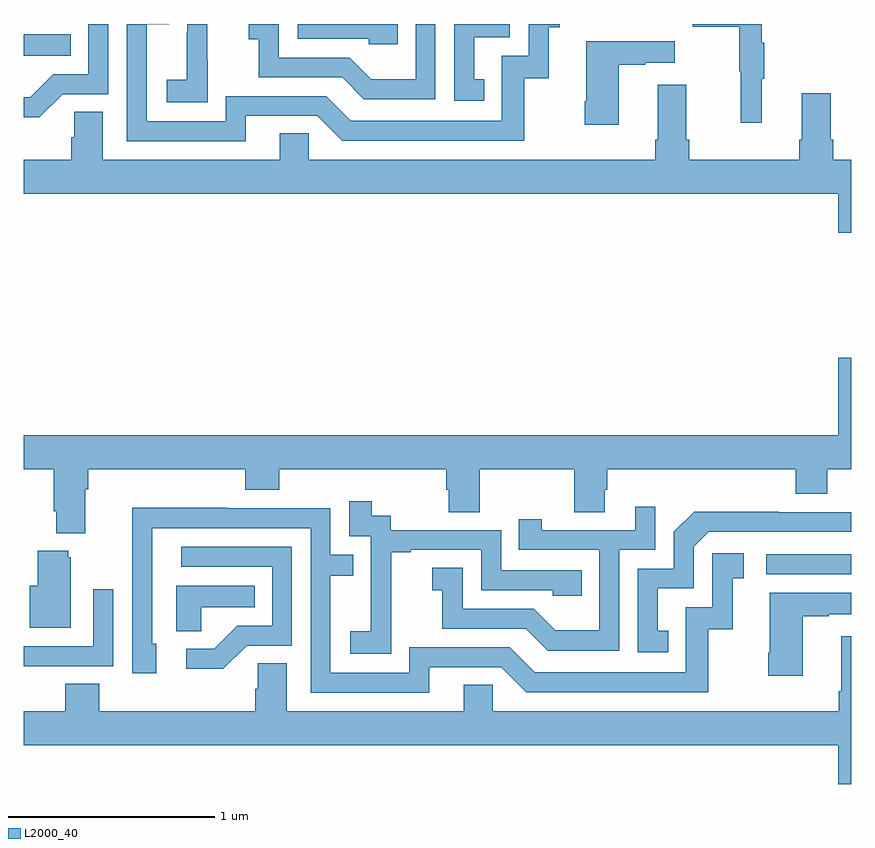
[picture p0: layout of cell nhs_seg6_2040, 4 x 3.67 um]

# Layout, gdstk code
import gdstk
lib = gdstk.Library(unit=1e-6, precision=1e-09)
def R(c, l, rs):  # rectangles x0, y0, x1, y1
    for r in rs: c.add(gdstk.rectangle(r[:2], r[2:], *l))
def P(c, l, *ps):  # polygons
    for p in ps: c.add(gdstk.Polygon(p, *l))
L2000_40 = (2000, 40)

nhs_seg6_2040 = lib.new_cell('nhs_seg6_2040')
R(nhs_seg6_2040, L2000_40, [(236.589,934.842,237,934.938), (233,937.346,233.228,937.45)])
P(nhs_seg6_2040, L2000_40, [(234.073,937.056),(234.42,937.056),(234.54,936.936),(235.42,936.936),(235.42,937.239),(235.538,937.239),(235.538,937.485),(235.591,937.485),(235.591,937.5),(235.44,937.5),(235.44,937.347),(235.311,937.347),(235.311,937.032),(234.582,937.032),(234.462,937.152),(233.976,937.152),(233.976,937.029),(233.595,937.029),(233.595,937.498),(233.705,937.498),(233.705,937.5),(233.499,937.5),(233.499,936.933),(234.073,936.933)],
  [(234.809,937.5),(234.324,937.5),(234.324,937.428),(234.669,937.428),(234.669,937.401),(234.809,937.401)],
  [(233.889,937.327),(233.888,937.327),(233.888,937.5),(233.79,937.5),(233.79,937.46),(233.789,937.46),(233.789,937.231),(233.691,937.231),(233.691,937.121),(233.889,937.121)],
  [(236.567,937.235),(236.578,937.235),(236.578,937.409),(236.567,937.409),(236.567,937.5),(236.233,937.5),(236.233,937.486),(236.457,937.486),(236.457,937.272),(236.464,937.272),(236.464,937.023),(236.567,937.023)],
  [(235.226,937.233),(235.177,937.233),(235.177,937.437),(235.35,937.437),(235.35,937.5),(235.08,937.5),(235.08,937.128),(235.226,937.128)],
  [(233.19,937.161),(233.409,937.161),(233.409,937.5),(233.313,937.5),(233.313,937.257),(233.144,937.257),(233.033,937.146),(233,937.146),(233,937.049),(233.077,937.049)],
  [(234.99,937.5),(234.894,937.5),(234.894,937.234),(234.68,937.234),(234.576,937.338),(234.234,937.338),(234.234,937.5),(234.087,937.5),(234.087,937.427),(234.136,937.427),(234.136,937.242),(234.539,937.242),(234.644,937.137),(234.99,937.137)],
  [(235.876,937.303),(236.003,937.303),(236.003,937.313),(236.146,937.313),(236.146,937.417),(235.718,937.417),(235.718,937.126),(235.711,937.126),(235.711,937.014),(235.876,937.014)],
  [(234.239,936.971),(234.239,936.844),(233.383,936.844),(233.383,937.076),(233.244,937.076),(233.244,936.953),(233.231,936.953),(233.231,936.844),(233,936.844),(233,936.68),(236.936,936.68),(236.936,936.492),(237,936.492),(237,936.844),(236.912,936.844),(236.912,936.94),(236.899,936.94),(236.899,937.165),(236.759,937.165),(236.759,936.94),(236.747,936.94),(236.747,936.844),(236.216,936.844),(236.216,936.94),(236.203,936.94),(236.203,937.207),(236.063,937.207),(236.063,936.94),(236.051,936.94),(236.051,936.844),(234.378,936.844),(234.378,936.971)],
  [(233.299,935.252),(233.312,935.252),(233.312,935.348),(234.071,935.348),(234.071,935.249),(234.236,935.249),(234.236,935.348),(235.043,935.348),(235.043,935.25),(235.055,935.25),(235.055,935.14),(235.203,935.14),(235.203,935.348),(235.66,935.348),(235.66,935.14),(235.807,935.14),(235.807,935.25),(235.82,935.25),(235.82,935.348),(236.732,935.348),(236.732,935.231),(236.884,935.231),(236.884,935.348),(237,935.348),(237,935.887),(236.936,935.887),(236.936,935.512),(233,935.512),(233,935.348),(233.147,935.348),(233.147,935.146),(233.159,935.146),(233.159,935.039),(233.299,935.039)],
  [(234.777,934.663),(234.776,934.663),(234.776,934.947),(234.871,934.947),(234.871,934.959),(235.212,934.959),(235.212,934.764),(235.557,934.764),(235.557,934.737),(235.697,934.737),(235.697,934.86),(235.308,934.86),(235.308,935.055),(234.774,935.055),(234.774,935.124),(234.682,935.124),(234.682,935.194),(234.573,935.194),(234.573,935.025),(234.678,935.025),(234.678,934.796),(234.677,934.796),(234.677,934.567),(234.579,934.567),(234.579,934.457),(234.777,934.457)],
  [(235.878,934.959),(236.052,934.959),(236.052,935.167),(235.955,935.167),(235.955,935.055),(235.504,935.055),(235.504,935.107),(235.393,935.107),(235.393,934.959),(235.782,934.959),(235.782,934.57),(235.568,934.57),(235.464,934.674),(235.122,934.674),(235.122,934.873),(234.975,934.873),(234.975,934.763),(235.024,934.763),(235.024,934.578),(235.427,934.578),(235.532,934.473),(235.878,934.473)],
  [(234.961,934.392),(235.308,934.392),(235.428,934.272),(236.308,934.272),(236.308,934.575),(236.426,934.575),(236.426,934.821),(236.479,934.821),(236.479,934.942),(236.328,934.942),(236.328,934.683),(236.199,934.683),(236.199,934.368),(235.47,934.368),(235.35,934.488),(234.864,934.488),(234.864,934.365),(234.483,934.365),(234.483,934.834),(234.593,934.834),(234.593,934.935),(234.483,934.935),(234.483,935.16),(233.987,935.16),(233.987,935.162),(233.524,935.162),(233.524,934.855),(233.526,934.855),(233.526,934.362),(233.641,934.362),(233.641,934.506),(233.622,934.506),(233.622,935.064),(234.387,935.064),(234.387,934.269),(234.961,934.269)],
  [(236.114,934.569),(236.065,934.569),(236.065,934.773),(236.238,934.773),(236.238,934.974),(236.31,935.046),(237,935.046),(237,935.142),(236.648,935.142),(236.648,935.144),(236.24,935.144),(236.142,935.046),(236.142,934.869),(235.968,934.869),(235.968,934.464),(236.114,934.464)],
  [(234.078,934.497),(234.297,934.497),(234.297,934.974),(233.763,934.974),(233.763,934.878),(234.201,934.878),(234.201,934.593),(234.032,934.593),(233.921,934.482),(233.787,934.482),(233.787,934.385),(233.965,934.385)],
  [(233.227,934.923),(233.216,934.923),(233.216,934.954),(233.069,934.954),(233.069,934.786),(233.03,934.786),(233.03,934.583),(233.227,934.583)],
  [(233.859,934.682),(234.116,934.682),(234.116,934.786),(233.738,934.786),(233.738,934.567),(233.859,934.567)],
  [(233.117,934.398),(233.433,934.398),(233.433,934.768),(233.337,934.768),(233.337,934.494),(233,934.494),(233,934.397),(233.117,934.397)],
  [(236.764,934.639),(236.891,934.639),(236.891,934.649),(237,934.649),(237,934.753),(236.606,934.753),(236.606,934.462),(236.599,934.462),(236.599,934.35),(236.764,934.35)],
  [(237,934.543),(236.951,934.543),(236.951,934.276),(236.939,934.276),(236.939,934.18),(235.266,934.18),(235.266,934.307),(235.127,934.307),(235.127,934.18),(234.271,934.18),(234.271,934.412),(234.132,934.412),(234.132,934.289),(234.119,934.289),(234.119,934.18),(233.366,934.18),(233.366,934.313),(233.201,934.313),(233.201,934.18),(233,934.18),(233,934.016),(236.936,934.016),(236.936,933.828),(237,933.828)])

lib.write_gds('nhs_seg6_2040.gds')
